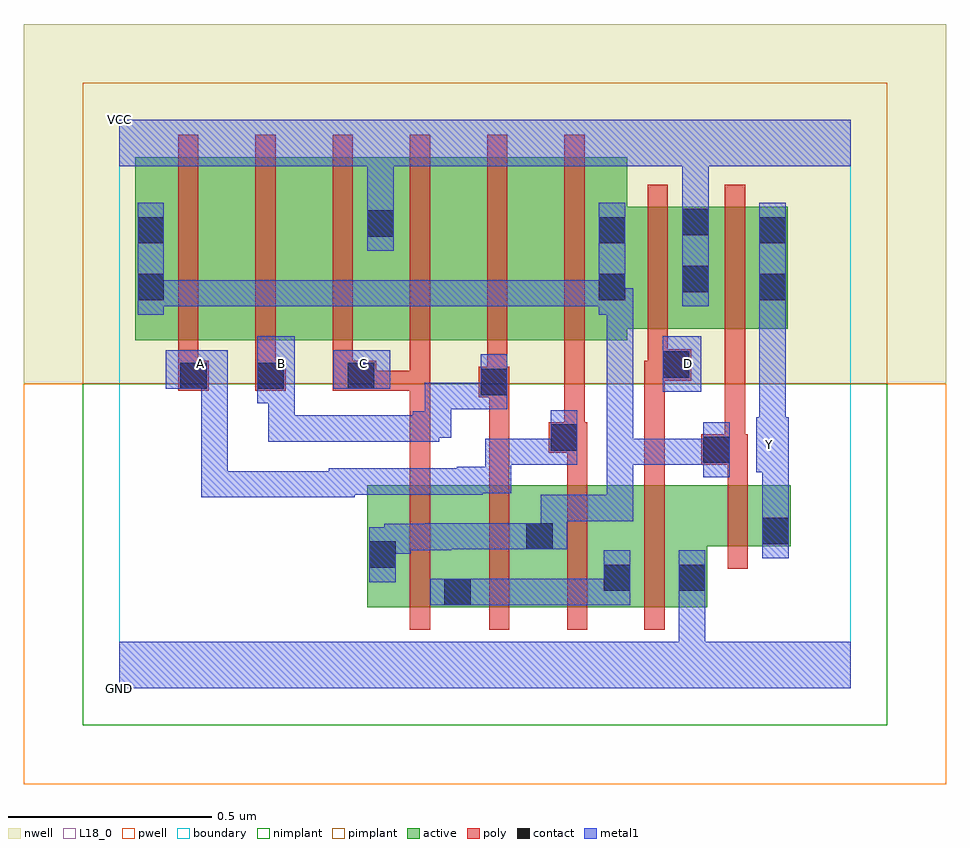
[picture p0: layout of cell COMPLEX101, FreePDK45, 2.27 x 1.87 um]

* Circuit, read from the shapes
.subckt COMPLEX101 A B C D GND VCC Y
M1 n1 C n2 VSUBS nfet w=0.3u l=0.05u
M2 n2 B n1 VSUBS nfet w=0.3u l=0.05u
M3 n1 A n2 VSUBS nfet w=0.3u l=0.05u
M4 GND D n1 VSUBS nfet w=0.3u l=0.05u
M5 Y n2 GND VSUBS nfet w=0.15u l=0.05u
M6 n3 A n2 n4 pfet w=0.45u l=0.05u
M7 n5 B n3 n4 pfet w=0.45u l=0.05u
M8 VCC C n5 n4 pfet w=0.45u l=0.05u
M9 n6 C VCC n4 pfet w=0.45u l=0.05u
M10 n7 B n6 n4 pfet w=0.45u l=0.05u
M11 n2 A n7 n4 pfet w=0.45u l=0.05u
M12 VCC D n2 n4 pfet w=0.3u l=0.05u
M13 Y n2 VCC n4 pfet w=0.3u l=0.05u
.ends

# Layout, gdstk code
import gdstk
lib = gdstk.Library(unit=1e-6, precision=1e-09)
def R(c, l, rs):  # rectangles x0, y0, x1, y1
    for r in rs: c.add(gdstk.rectangle(r[:2], r[2:], *l))
def A(c, l, x, y, w, h, nx, ny, dx, dy):  # array of equal rectangles
    R(c, l, [(x+i*dx, y+j*dy, x+i*dx+w, y+j*dy+h) for i in range(nx) for j in range(ny)])
active = (1, 0)
pwell = (2, 0)
nwell = (3, 0)
nimplant = (4, 0)
pimplant = (5, 0)
poly = (9, 0)
contact = (10, 0)
metal1 = (11, 0)
L18_0 = (18, 0)
boundary = (235, 0)

complex101 = lib.new_cell('COMPLEX101')
R(complex101, active, [(0.61,0.2,0.87,0.5), (0.795,0.2,1.072,0.5), (0.795,0.2,0.87,0.392), (0.997,0.2,1.262,0.5), (1.187,0.2,1.447,0.5), (1.187,0.235,1.262,0.392), (1.372,0.235,1.447,0.472), (0.61,0.292,0.685,0.417), (0.997,0.33,1.072,0.412), (1.372,0.35,1.652,0.5), (1.577,0.35,1.652,0.5), (0.04,0.857,0.265,1.307), (0.04,0.857,0.145,1.2), (0.265,0.857,0.455,1.307), (0.455,0.857,0.68,1.307), (0.605,0.857,0.835,1.307), (0.605,0.857,0.68,1.255), (0.835,0.857,1.025,1.307), (1.025,0.857,1.25,1.307), (1.175,0.885,1.455,1.185), (1.38,0.885,1.645,1.185), (1.57,0.885,1.645,1.185), (1.175,0.95,1.25,1.2), (1.38,0.97,1.455,1.185)])
R(complex101, pwell, [(-0.235,-0.235,2.035,0.75)])
R(complex101, nwell, [(-0.235,0.75,2.035,1.635)])
R(complex101, nimplant, [(-0.09,-0.09,1.89,0.75)])
R(complex101, pimplant, [(-0.09,0.75,1.89,1.49)])
A(complex101, poly, 0.145, 0.757, 0.05, 0.095, 3, 1, 0.19, 0)
A(complex101, poly, 0.145, 0.802, 0.05, 0.56, 6, 1, 0.19, 0)
R(complex101, poly, [(0.715,0.145,0.765,0.555), (0.91,0.145,0.96,0.555), (1.102,0.145,1.152,0.555), (1.292,0.145,1.342,0.555), (1.497,0.295,1.547,0.555), (0.715,0.505,0.765,0.782), (0.91,0.505,0.96,0.767), (1.102,0.505,1.152,0.63), (1.292,0.505,1.342,0.807), (1.497,0.505,1.547,0.6), (1.432,0.55,1.547,0.625), (1.49,0.575,1.54,0.88), (1.49,0.575,1.54,0.625), (1.49,0.575,1.54,0.625), (1.057,0.58,1.152,0.655), (1.095,0.605,1.145,0.655), (1.095,0.605,1.145,0.655), (1.095,0.605,1.145,0.852), (0.885,0.717,0.96,0.792), (0.145,0.732,0.22,0.807), (0.335,0.732,0.41,0.807), (0.525,0.732,0.632,0.807), (0.582,0.732,0.765,0.782), (0.715,0.732,0.765,0.782), (0.715,0.732,0.765,0.782), (0.715,0.732,0.765,0.782), (0.715,0.732,0.765,0.782), (0.715,0.732,0.765,0.782), (0.715,0.732,0.765,0.852), (0.905,0.742,0.955,0.792), (0.905,0.742,0.955,0.792), (0.905,0.742,0.955,0.852), (0.145,0.757,0.195,0.807), (0.145,0.757,0.195,0.807), (0.335,0.757,0.385,0.807), (0.335,0.757,0.385,0.807), (1.292,0.757,1.35,0.807), (1.3,0.757,1.35,0.807), (1.3,0.757,1.407,0.835), (1.3,0.785,1.35,0.88), (1.3,0.83,1.35,1.24), (1.49,0.83,1.54,1.24)])
R(complex101, contact, [(0.8,0.205,0.865,0.27), (1.192,0.24,1.257,0.305), (1.377,0.24,1.442,0.305), (0.615,0.297,0.68,0.362), (1.002,0.342,1.067,0.407), (1.582,0.355,1.647,0.42), (1.437,0.555,1.502,0.62), (1.062,0.585,1.127,0.65), (0.89,0.722,0.955,0.787), (0.15,0.737,0.215,0.802), (0.34,0.737,0.405,0.802), (0.562,0.737,0.627,0.802), (1.337,0.765,1.402,0.83), (0.045,0.955,0.11,1.02), (1.18,0.955,1.245,1.02), (1.575,0.955,1.64,1.02), (1.385,0.975,1.45,1.04), (0.045,1.095,0.11,1.16), (1.18,1.095,1.245,1.16), (1.575,1.095,1.64,1.16), (0.61,1.112,0.675,1.177), (1.385,1.115,1.45,1.18)])
R(complex101, metal1, [(0,0,1.8,0.115), (1.377,0.05,1.442,0.115), (1.377,0.05,1.442,0.115), (1.377,0.05,1.442,0.27), (0.765,0.205,0.9,0.27), (0.835,0.205,0.965,0.27), (0.9,0.205,0.965,0.27), (0.9,0.205,1.102,0.27), (1.037,0.205,1.102,0.27), (1.037,0.205,1.102,0.27), (1.037,0.205,1.102,0.27), (1.037,0.205,1.257,0.27), (1.192,0.205,1.257,0.34), (1.377,0.205,1.442,0.34), (0.615,0.262,0.68,0.397), (1.582,0.32,1.647,0.455), (0.615,0.332,0.717,0.397), (0.652,0.332,0.717,0.405), (0.652,0.34,0.817,0.405), (0.752,0.34,0.817,0.407), (0.752,0.342,0.965,0.407), (0.9,0.342,0.965,0.407), (0.9,0.342,1.032,0.407), (0.967,0.342,1.102,0.407), (1.037,0.342,1.102,0.407), (1.037,0.342,1.102,0.477), (1.582,0.39,1.647,0.597), (1.037,0.412,1.265,0.477), (1.2,0.412,1.265,0.477), (1.2,0.412,1.265,0.615), (0.202,0.47,0.267,0.535), (0.202,0.47,0.432,0.535), (0.202,0.47,0.267,0.802), (0.367,0.47,0.432,0.535), (0.367,0.47,0.432,0.535), (0.367,0.47,0.432,0.535), (0.367,0.47,0.58,0.535), (0.515,0.47,0.58,0.535), (0.515,0.47,0.58,0.535), (0.515,0.47,0.58,0.542), (0.515,0.477,0.817,0.542), (0.752,0.477,0.817,0.542), (0.752,0.477,0.895,0.542), (0.83,0.477,0.895,0.545), (0.83,0.48,0.965,0.545), (0.9,0.48,0.965,0.615), (1.437,0.52,1.502,0.655), (1.567,0.532,1.647,0.667), (0.9,0.55,1.092,0.615), (1.027,0.55,1.092,0.615), (1.027,0.55,1.092,0.615), (1.027,0.55,1.092,0.615), (1.027,0.55,1.127,0.615), (1.062,0.55,1.127,0.685), (1.2,0.55,1.265,0.615), (1.2,0.55,1.265,0.615), (1.2,0.55,1.265,0.615), (1.2,0.55,1.265,0.615), (1.2,0.55,1.265,0.615), (1.2,0.55,1.495,0.615), (1.2,0.55,1.265,0.985), (1.43,0.55,1.495,0.615), (1.43,0.55,1.502,0.615), (1.575,0.602,1.64,0.985), (1.575,0.602,1.64,0.667), (1.575,0.602,1.64,0.667), (0.367,0.607,0.57,0.672), (0.367,0.607,0.432,0.767), (0.505,0.607,0.57,0.672), (0.505,0.607,0.57,0.672), (0.505,0.607,0.57,0.672), (0.505,0.607,0.787,0.672), (0.722,0.607,0.787,0.682), (0.722,0.617,0.817,0.682), (0.752,0.617,0.817,0.752), (0.752,0.687,0.955,0.752), (0.89,0.687,0.955,0.822), (0.34,0.702,0.432,0.867), (0.367,0.702,0.432,0.767), (1.337,0.73,1.432,0.867), (0.115,0.737,0.267,0.832), (0.202,0.737,0.267,0.802), (0.202,0.737,0.267,0.802), (0.527,0.737,0.667,0.832), (0.045,0.92,0.11,1.195), (1.18,0.92,1.245,1.195), (1.18,0.92,1.245,0.985), (1.18,0.92,1.265,0.985), (1.575,0.92,1.64,1.195), (0.045,0.94,0.11,1.005), (0.045,0.94,0.11,1.005), (0.045,0.94,0.295,1.005), (0.23,0.94,0.295,1.005), (0.23,0.94,0.432,1.005), (0.367,0.94,0.432,1.005), (0.367,0.94,0.432,1.005), (0.367,0.94,0.432,1.005), (0.367,0.94,0.57,1.005), (0.505,0.94,0.57,1.005), (0.505,0.94,0.57,1.005), (0.505,0.94,0.57,1.005), (0.505,0.94,0.817,1.005), (0.752,0.94,0.817,1.005), (0.752,0.94,0.817,1.005), (0.752,0.94,0.817,1.005), (0.752,0.94,0.965,1.005), (0.9,0.94,0.965,1.005), (0.9,0.94,1.107,1.005), (1.042,0.94,1.107,1.005), (1.042,0.94,1.107,1.005), (1.042,0.94,1.107,1.005), (1.042,0.94,1.245,1.005), (1.385,0.94,1.45,1.215), (0.61,1.077,0.675,1.212), (0.61,1.147,0.675,1.35), (1.385,1.15,1.45,1.35), (0,1.285,1.8,1.4), (1.385,1.285,1.45,1.35), (1.385,1.285,1.45,1.35)])
A(complex101, L18_0, 0.167, 0.767, 0.065, 0.065, 3, 1, 0.2, 0)
R(complex101, L18_0, [(0,0,1.8,0.115), (1.377,0.05,1.442,0.115), (1.377,0.05,1.442,0.115), (1.377,0.05,1.442,0.27), (1.377,0.205,1.442,0.34), (1.582,0.32,1.647,0.455), (1.582,0.39,1.647,0.597), (0.202,0.47,0.267,0.535), (0.202,0.47,0.267,0.802), (0.202,0.47,0.432,0.535), (0.367,0.47,0.432,0.535), (0.367,0.47,0.432,0.535), (0.367,0.47,0.432,0.535), (0.367,0.47,0.58,0.535), (0.515,0.47,0.58,0.535), (0.515,0.47,0.58,0.535), (0.515,0.47,0.58,0.542), (0.515,0.477,0.817,0.542), (0.752,0.477,0.817,0.542), (0.752,0.477,0.895,0.542), (0.83,0.477,0.895,0.545), (0.83,0.48,0.965,0.545), (0.9,0.48,0.965,0.615), (1.567,0.532,1.647,0.667), (0.9,0.55,1.092,0.615), (1.027,0.55,1.092,0.615), (1.027,0.55,1.092,0.615), (1.027,0.55,1.092,0.615), (1.027,0.55,1.127,0.615), (1.062,0.55,1.127,0.685), (1.567,0.567,1.632,0.632), (1.575,0.602,1.64,0.667), (1.575,0.602,1.64,0.667), (1.575,0.602,1.64,0.985), (0.367,0.607,0.432,0.767), (0.367,0.607,0.57,0.672), (0.505,0.607,0.57,0.672), (0.505,0.607,0.57,0.672), (0.505,0.607,0.57,0.672), (0.505,0.607,0.787,0.672), (0.722,0.607,0.787,0.682), (0.722,0.617,0.817,0.682), (0.752,0.617,0.817,0.752), (0.752,0.687,0.955,0.752), (0.89,0.687,0.955,0.822), (0.34,0.702,0.432,0.867), (0.367,0.702,0.432,0.767), (1.337,0.73,1.432,0.867), (0.115,0.737,0.267,0.832), (0.202,0.737,0.267,0.802), (0.202,0.737,0.267,0.802), (0.527,0.737,0.667,0.832), (1.367,0.767,1.432,0.832), (1.575,0.92,1.64,1.195), (1.385,0.94,1.45,1.215), (0.61,1.077,0.675,1.212), (0.61,1.147,0.675,1.35), (1.385,1.15,1.45,1.35), (0,1.285,1.8,1.4), (1.385,1.285,1.45,1.35), (1.385,1.285,1.45,1.35)])
R(complex101, boundary, [(0,0,1.8,1.4)])
complex101.add(gdstk.Label('A', (0.2,0.8), layer=11, texttype=0))
complex101.add(gdstk.Label('B', (0.4,0.8), layer=11, texttype=0))
complex101.add(gdstk.Label('C', (0.6,0.8), layer=11, texttype=0))
complex101.add(gdstk.Label('D', (1.4,0.8), layer=11, texttype=0))
complex101.add(gdstk.Label('Y', (1.6,0.6), layer=11, texttype=0))
complex101.add(gdstk.Label('VCC', (0,1.4), layer=11, texttype=0))
complex101.add(gdstk.Label('GND', (0,0), layer=11, texttype=0))

lib.write_gds('COMPLEX101.gds')
